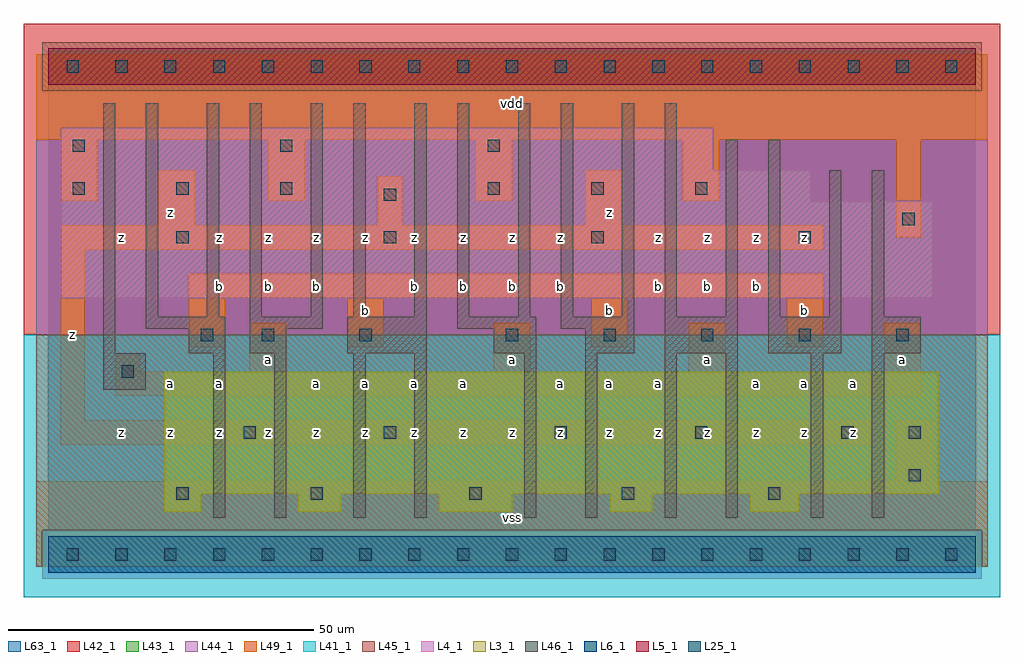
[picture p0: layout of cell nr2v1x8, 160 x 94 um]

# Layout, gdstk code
import gdstk
lib = gdstk.Library(unit=1e-6, precision=1e-09)
def R(c, l, rs):  # rectangles x0, y0, x1, y1
    for r in rs: c.add(gdstk.rectangle(r[:2], r[2:], *l))
def A(c, l, x, y, w, h, nx, ny, dx, dy):  # array of equal rectangles
    R(c, l, [(x+i*dx, y+j*dy, x+i*dx+w, y+j*dy+h) for i in range(nx) for j in range(ny)])
L3_1 = (3, 1)
L4_1 = (4, 1)
L5_1 = (5, 1)
L6_1 = (6, 1)
L25_1 = (25, 1)
L41_1 = (41, 1)
L42_1 = (42, 1)
L43_1 = (43, 1)
L44_1 = (44, 1)
L45_1 = (45, 1)
L46_1 = (46, 1)
L49_1 = (49, 1)
L63_1 = (63, 1)

nr2v1x8 = lib.new_cell('nr2v1x8')
R(nr2v1x8, L3_1, [(19,7,25,10), (41,7,48,10), (64,7,76,10), (92,7,99,10), (115,7,123,10), (19,10,146,30)])
R(nr2v1x8, L4_1, [(2,42,145,58), (2,58,125,63), (2,63,109,70)])
R(nr2v1x8, L5_1, [(0,77,152,83)])
R(nr2v1x8, L6_1, [(0,-3,152,3), (0,-3,152,3)])
A(nr2v1x8, L25_1, 3, -1, 2, 2, 19, 2, 8, 80)
A(nr2v1x8, L25_1, 75, 35, 2, 2, 5, 1, 16, 0)
A(nr2v1x8, L25_1, 21, 51, 2, 2, 4, 1, 34, 0)
A(nr2v1x8, L25_1, 4, 59, 2, 2, 3, 1, 17, 0)
A(nr2v1x8, L25_1, 72, 59, 2, 2, 3, 1, 17, 0)
A(nr2v1x8, L25_1, 4, 66, 2, 2, 3, 1, 34, 0)
R(nr2v1x8, L25_1, [(21,9,23,11), (43,9,45,11), (69,9,71,11), (94,9,96,11), (118,9,120,11), (141,12,143,14), (32,19,34,21), (55,19,57,21), (83,19,85,21), (106,19,108,21), (130,19,132,21), (141,19,143,21), (12,29,14,31), (25,35,27,37), (35,35,37,37), (51,35,53,37), (140,54,142,56), (55,58,57,60)])
R(nr2v1x8, L41_1, [(-4,-7,156,36)])
R(nr2v1x8, L42_1, [(-4,36,156,87)])
R(nr2v1x8, L43_1, [(0,-3,152,3), (19,7,25,10), (41,7,48,10), (64,7,76,10), (92,7,99,10), (115,7,123,10), (19,10,146,30), (2,42,145,58), (2,58,125,63), (2,63,109,70), (0,77,152,83)])
R(nr2v1x8, L44_1, [(-1,-4,153,4), (-2,36,154,76), (-2,76,-1,82), (153,76,154,82)])
R(nr2v1x8, L45_1, [(-2,-2,-1,4), (153,-2,154,4), (-2,4,154,36), (-1,76,153,84)])
R(nr2v1x8, L46_1, [(27,6,29,33), (37,6,39,33), (50,6,52,33), (60,6,62,33), (78,6,80,33), (88,6,90,33), (101,6,103,33), (111,6,113,33), (125,6,127,33), (135,6,137,33), (9,27,16,33), (9,33,11,74), (23,33,29,37), (33,33,39,37), (49,33,62,39), (73,33,80,37), (88,33,96,37), (101,33,113,39), (118,33,130,39), (135,33,143,39), (16,37,29,39), (33,37,45,39), (67,37,80,39), (84,37,96,39), (16,39,18,74), (26,39,28,74), (33,39,35,74), (43,39,45,74), (50,39,52,74), (60,39,62,74), (67,39,69,74), (77,39,79,74), (84,39,86,74), (94,39,96,74), (101,39,103,74), (111,39,113,68), (118,39,120,68), (128,39,130,63), (135,39,137,63)])
A(nr2v1x8, L49_1, 73, 30, 6, 8, 3, 1, 32, 0)
A(nr2v1x8, L49_1, 2, 58, 6, 10, 4, 1, 34, 0)
R(nr2v1x8, L49_1, [(-2,-2,154,12), (139,12,145,22), (2,18,135,22), (2,22,6,50), (11,26,143,30), (11,30,15,33), (33,30,39,38), (23,34,29,42), (49,34,55,42), (89,34,95,42), (121,34,127,42), (23,42,127,46), (2,50,127,54), (139,52,143,68), (18,54,24,63), (54,54,58,62), (88,54,94,63), (-2,68,154,82)])
R(nr2v1x8, L63_1, [(0,0,152,80)])
nr2v1x8.add(gdstk.Label('z', (20,20), layer=49, texttype=1))
nr2v1x8.add(gdstk.Label('z', (12,20), layer=49, texttype=1))
nr2v1x8.add(gdstk.Label('a', (20,28), layer=49, texttype=1))
nr2v1x8.add(gdstk.Label('z', (4,36), layer=49, texttype=1))
nr2v1x8.add(gdstk.Label('z', (12,52), layer=49, texttype=1))
nr2v1x8.add(gdstk.Label('z', (20,56), layer=49, texttype=1))
nr2v1x8.add(gdstk.Label('z', (44,20), layer=49, texttype=1))
nr2v1x8.add(gdstk.Label('z', (36,20), layer=49, texttype=1))
nr2v1x8.add(gdstk.Label('z', (28,20), layer=49, texttype=1))
nr2v1x8.add(gdstk.Label('a', (44,28), layer=49, texttype=1))
nr2v1x8.add(gdstk.Label('a', (28,28), layer=49, texttype=1))
nr2v1x8.add(gdstk.Label('a', (36,32), layer=49, texttype=1))
nr2v1x8.add(gdstk.Label('b', (44,44), layer=49, texttype=1))
nr2v1x8.add(gdstk.Label('b', (36,44), layer=49, texttype=1))
nr2v1x8.add(gdstk.Label('b', (28,44), layer=49, texttype=1))
nr2v1x8.add(gdstk.Label('z', (44,52), layer=49, texttype=1))
nr2v1x8.add(gdstk.Label('z', (36,52), layer=49, texttype=1))
nr2v1x8.add(gdstk.Label('z', (28,52), layer=49, texttype=1))
nr2v1x8.add(gdstk.Label('z', (52,20), layer=49, texttype=1))
nr2v1x8.add(gdstk.Label('z', (68,20), layer=49, texttype=1))
nr2v1x8.add(gdstk.Label('z', (60,20), layer=49, texttype=1))
nr2v1x8.add(gdstk.Label('a', (68,28), layer=49, texttype=1))
nr2v1x8.add(gdstk.Label('a', (60,28), layer=49, texttype=1))
nr2v1x8.add(gdstk.Label('a', (52,28), layer=49, texttype=1))
nr2v1x8.add(gdstk.Label('b', (68,44), layer=49, texttype=1))
nr2v1x8.add(gdstk.Label('b', (60,44), layer=49, texttype=1))
nr2v1x8.add(gdstk.Label('b', (52,40), layer=49, texttype=1))
nr2v1x8.add(gdstk.Label('z', (52,52), layer=49, texttype=1))
nr2v1x8.add(gdstk.Label('z', (68,52), layer=49, texttype=1))
nr2v1x8.add(gdstk.Label('z', (60,52), layer=49, texttype=1))
nr2v1x8.add(gdstk.Label('vss', (76,6), layer=49, texttype=1))
nr2v1x8.add(gdstk.Label('z', (76,20), layer=49, texttype=1))
nr2v1x8.add(gdstk.Label('z', (92,20), layer=49, texttype=1))
nr2v1x8.add(gdstk.Label('z', (84,20), layer=49, texttype=1))
nr2v1x8.add(gdstk.Label('z', (100,20), layer=49, texttype=1))
nr2v1x8.add(gdstk.Label('a', (92,28), layer=49, texttype=1))
nr2v1x8.add(gdstk.Label('a', (84,28), layer=49, texttype=1))
nr2v1x8.add(gdstk.Label('a', (100,28), layer=49, texttype=1))
nr2v1x8.add(gdstk.Label('a', (76,32), layer=49, texttype=1))
nr2v1x8.add(gdstk.Label('b', (92,40), layer=49, texttype=1))
nr2v1x8.add(gdstk.Label('b', (84,44), layer=49, texttype=1))
nr2v1x8.add(gdstk.Label('b', (100,44), layer=49, texttype=1))
nr2v1x8.add(gdstk.Label('b', (76,44), layer=49, texttype=1))
nr2v1x8.add(gdstk.Label('z', (76,52), layer=49, texttype=1))
nr2v1x8.add(gdstk.Label('z', (84,52), layer=49, texttype=1))
nr2v1x8.add(gdstk.Label('z', (100,52), layer=49, texttype=1))
nr2v1x8.add(gdstk.Label('z', (92,56), layer=49, texttype=1))
nr2v1x8.add(gdstk.Label('vdd', (76,74), layer=49, texttype=1))
nr2v1x8.add(gdstk.Label('z', (124,20), layer=49, texttype=1))
nr2v1x8.add(gdstk.Label('z', (116,20), layer=49, texttype=1))
nr2v1x8.add(gdstk.Label('z', (108,20), layer=49, texttype=1))
nr2v1x8.add(gdstk.Label('a', (124,28), layer=49, texttype=1))
nr2v1x8.add(gdstk.Label('a', (116,28), layer=49, texttype=1))
nr2v1x8.add(gdstk.Label('a', (108,32), layer=49, texttype=1))
nr2v1x8.add(gdstk.Label('b', (124,40), layer=49, texttype=1))
nr2v1x8.add(gdstk.Label('b', (116,44), layer=49, texttype=1))
nr2v1x8.add(gdstk.Label('b', (108,44), layer=49, texttype=1))
nr2v1x8.add(gdstk.Label('z', (124,52), layer=49, texttype=1))
nr2v1x8.add(gdstk.Label('z', (116,52), layer=49, texttype=1))
nr2v1x8.add(gdstk.Label('z', (108,52), layer=49, texttype=1))
nr2v1x8.add(gdstk.Label('z', (132,20), layer=49, texttype=1))
nr2v1x8.add(gdstk.Label('a', (132,28), layer=49, texttype=1))
nr2v1x8.add(gdstk.Label('a', (140,32), layer=49, texttype=1))

lib.write_gds('nr2v1x8.gds')
